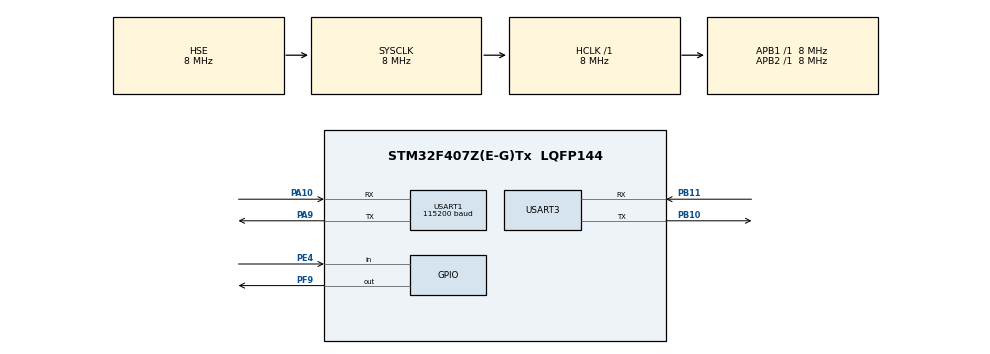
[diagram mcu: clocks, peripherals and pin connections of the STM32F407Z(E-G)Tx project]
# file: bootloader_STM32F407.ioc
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Mcu.Family=STM32F4
Mcu.Name=STM32F407Z(E-G)Tx
Mcu.Package=LQFP144
NVIC.PriorityGroup=NVIC_PRIORITYGROUP_4
PA10.Mode=Asynchronous
PA10.Signal=USART1_RX
PA9.Mode=Asynchronous
PA9.Signal=USART1_TX
PB10.Mode=Asynchronous
PB10.Signal=USART3_TX
PB11.Mode=Asynchronous
PB11.Signal=USART3_RX
PE4.GPIO_PuPd=GPIO_PULLUP
PE4.Signal=GPIO_Input
PF9.PinState=GPIO_PIN_SET
PF9.Signal=GPIO_Output
PH0-OSC_IN.Mode=HSE-External-Oscillator
PH0-OSC_IN.Signal=RCC_OSC_IN
PH1-OSC_OUT.Mode=HSE-External-Oscillator
PH1-OSC_OUT.Signal=RCC_OSC_OUT
ProjectManager.HeapSize=0x200
ProjectManager.StackSize=0x400
ProjectManager.TargetToolchain=STM32CubeIDE
RCC.AHBFreq_Value=8000000
RCC.APB1Freq_Value=8000000
RCC.APB1TimFreq_Value=8000000
RCC.APB2Freq_Value=8000000
RCC.APB2TimFreq_Value=8000000
RCC.CortexFreq_Value=8000000
RCC.HCLKFreq_Value=8000000
RCC.HSE_VALUE=8000000
RCC.HSI_VALUE=16000000
RCC.LSE_VALUE=32768
RCC.SYSCLKFreq_VALUE=8000000
RCC.SYSCLKSource=RCC_SYSCLKSOURCE_HSE
RCC.VCOOutputFreq_Value=192000000
USART1.BaudRate=115200
USART1.VirtualMode=VM_ASYNC
USART3.VirtualMode=VM_ASYNC
VP_CRC_VS_CRC.Mode=CRC_Activate
board=custom

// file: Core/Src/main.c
/* USER CODE BEGIN Header */
/**
  ******************************************************************************
  * @file           : main.c
  * @brief          : Main program body
  ******************************************************************************
  * @attention
  *
  * Copyright (c) 2024 STMicroelectronics.
  * All rights reserved.
  *
  * This software is licensed under terms that can be found in the LICENSE file
  * in the root directory of this software component.
  * If no LICENSE file comes with this software, it is provided AS-IS.
  *
  ******************************************************************************
  */
/* USER CODE END Header */
#include "main.h"

/* USER CODE BEGIN Includes */
#include <stdio.h>
#include <string.h>
#include <stdarg.h>
/* USER CODE END Includes */

/* USER CODE BEGIN PD */
#define K0_GPIO_PORT GPIOE
#define K0_PIN	GPIO_PIN_4
#define BL_RX_LEN 200
/* USER CODE END PD */

/* USER CODE BEGIN PM */
#define BL_DEBUG_MSG_EN
/* USER CODE END PM */

CRC_HandleTypeDef hcrc;

UART_HandleTypeDef huart1;
UART_HandleTypeDef huart3;

/* USER CODE BEGIN PV */
#define D_UART &huart3
#define C_UART &huart1
/* USER CODE END PV */

void SystemClock_Config(void);
static void MX_GPIO_Init(void);
static void MX_CRC_Init(void);
static void MX_USART1_UART_Init(void);
static void MX_USART3_UART_Init(void);
/* USER CODE BEGIN PFP */
static void printmsg(char *format, ...);
void bootloader_send_nack(void);
void bootloader_send_ack(uint8_t command_code, uint8_t follow_len);
uint8_t bootloader_verify_crc(uint8_t *pData, uint32_t len, uint32_t crc_host);
uint8_t get_bootloader_version(void);
uint16_t get_mcu_chip_id(void);
uint8_t get_flash_rdp_level(void);
uint8_t verify_address(uint32_t go_address);
void bootloader_uart_write_data(uint8_t *pBuffer, uint32_t len);
uint8_t execute_flash_erase(uint8_t sector_number, uint8_t number_of_sectors);
uint8_t execute_mem_write(uint8_t *pBuffer, uint32_t mem_address, uint32_t len);
uint8_t configure_flash_sector_rw_protection(uint16_t sector_details, uint8_t protection_mode, uint8_t disable);
/* USER CODE END PFP */

/* USER CODE BEGIN 0 */
char someData[] = "Hello from Bootloader!\r\n";
uint8_t bl_rx_buffer[BL_RX_LEN];

uint8_t supported_commands[] = {
	BL_GET_VER,
	BL_GET_HELP,
	BL_GET_CID,
	BL_GET_RDP_STATUS,
	BL_GO_TO_ADDR,
	BL_FLASH_ERASE,
	BL_MEM_WRITE,
	BL_READ_SECTOR_P_STATUS
};
/* USER CODE END 0 */

int main(void)
{

  /* MCU Configuration--------------------------------------------------------*/

  /* Reset of all peripherals, Initializes the Flash interface and the Systick. */
  HAL_Init();

  /* Configure the system clock */
  SystemClock_Config();

  /* Initialize all configured peripherals */
  MX_GPIO_Init();
  MX_CRC_Init();
  MX_USART1_UART_Init();
  MX_USART3_UART_Init();
  /* USER CODE BEGIN 2 */

  if (HAL_GPIO_ReadPin(K0_GPIO_PORT, K0_PIN) == GPIO_PIN_RESET) {
	  printmsg("BL_DEBUG_MSG:Button is pressed .. going to BL mode\r\n");

	  bootloader_uart_read_data();
  } else {
	  printmsg("BL_DEBUG_MSG:Button is no pressed .. executing user's code\r\n");

	  bootloader_jump_to_user_app();
  }

  /* USER CODE END 2 */

  /* Infinite loop */
  while (1)
  {

  }
}

void SystemClock_Config(void)
{
  RCC_OscInitTypeDef RCC_OscInitStruct = {0};
  RCC_ClkInitTypeDef RCC_ClkInitStruct = {0};

  /** Configure the main internal regulator output voltage
  */
  __HAL_RCC_PWR_CLK_ENABLE();
  __HAL_PWR_VOLTAGESCALING_CONFIG(PWR_REGULATOR_VOLTAGE_SCALE1);

  /** Initializes the RCC Oscillators according to the specified parameters
  * in the RCC_OscInitTypeDef structure.
  */
  RCC_OscInitStruct.OscillatorType = RCC_OSCILLATORTYPE_HSE;
  RCC_OscInitStruct.HSEState = RCC_HSE_ON;
  RCC_OscInitStruct.PLL.PLLState = RCC_PLL_NONE;
  if (HAL_RCC_OscConfig(&RCC_OscInitStruct) != HAL_OK)
  {
    Error_Handler();
  }

  /** Initializes the CPU, AHB and APB buses clocks
  */
  RCC_ClkInitStruct.ClockType = RCC_CLOCKTYPE_HCLK|RCC_CLOCKTYPE_SYSCLK
                              |RCC_CLOCKTYPE_PCLK1|RCC_CLOCKTYPE_PCLK2;
  RCC_ClkInitStruct.SYSCLKSource = RCC_SYSCLKSOURCE_HSE;
  RCC_ClkInitStruct.AHBCLKDivider = RCC_SYSCLK_DIV1;
  RCC_ClkInitStruct.APB1CLKDivider = RCC_HCLK_DIV1;
  RCC_ClkInitStruct.APB2CLKDivider = RCC_HCLK_DIV1;

  if (HAL_RCC_ClockConfig(&RCC_ClkInitStruct, FLASH_LATENCY_0) != HAL_OK)
  {
    Error_Handler();
  }
}

static void MX_CRC_Init(void)
{

  hcrc.Instance = CRC;
  if (HAL_CRC_Init(&hcrc) != HAL_OK)
  {
    Error_Handler();
  }

}

static void MX_USART1_UART_Init(void)
{

  huart1.Instance = USART1;
  huart1.Init.BaudRate = 115200;
  huart1.Init.WordLength = UART_WORDLENGTH_8B;
  huart1.Init.StopBits = UART_STOPBITS_1;
  huart1.Init.Parity = UART_PARITY_NONE;
  huart1.Init.Mode = UART_MODE_TX_RX;
  huart1.Init.HwFlowCtl = UART_HWCONTROL_NONE;
  huart1.Init.OverSampling = UART_OVERSAMPLING_16;
  if (HAL_UART_Init(&huart1) != HAL_OK)
  {
    Error_Handler();
  }

}

static void MX_USART3_UART_Init(void)
{

  huart3.Instance = USART3;
  huart3.Init.BaudRate = 115200;
  huart3.Init.WordLength = UART_WORDLENGTH_8B;
  huart3.Init.StopBits = UART_STOPBITS_1;
  huart3.Init.Parity = UART_PARITY_NONE;
  huart3.Init.Mode = UART_MODE_TX_RX;
  huart3.Init.HwFlowCtl = UART_HWCONTROL_NONE;
  huart3.Init.OverSampling = UART_OVERSAMPLING_16;
  if (HAL_UART_Init(&huart3) != HAL_OK)
  {
    Error_Handler();
  }

}

static void MX_GPIO_Init(void)
{
  GPIO_InitTypeDef GPIO_InitStruct = {0};

  /* GPIO Ports Clock Enable */
  __HAL_RCC_GPIOE_CLK_ENABLE();
  __HAL_RCC_GPIOF_CLK_ENABLE();
  __HAL_RCC_GPIOH_CLK_ENABLE();
  __HAL_RCC_GPIOB_CLK_ENABLE();
  __HAL_RCC_GPIOA_CLK_ENABLE();

  /*Configure GPIO pin Output Level */
  HAL_GPIO_WritePin(GPIOF, GPIO_PIN_9, GPIO_PIN_SET);

  /*Configure GPIO pin : PE4 */
  GPIO_InitStruct.Pin = GPIO_PIN_4;
  GPIO_InitStruct.Mode = GPIO_MODE_INPUT;
  GPIO_InitStruct.Pull = GPIO_PULLUP;
  HAL_GPIO_Init(GPIOE, &GPIO_InitStruct);

  /*Configure GPIO pin : PF9 */
  GPIO_InitStruct.Pin = GPIO_PIN_9;
  GPIO_InitStruct.Mode = GPIO_MODE_OUTPUT_PP;
  GPIO_InitStruct.Pull = GPIO_NOPULL;
  GPIO_InitStruct.Speed = GPIO_SPEED_FREQ_LOW;
  HAL_GPIO_Init(GPIOF, &GPIO_InitStruct);

}

/* USER CODE BEGIN 4 */
void bootloader_uart_read_data(void)
{
	uint8_t rcv_len = 0;

	while(1) {
		memset(bl_rx_buffer, 0, BL_RX_LEN);

		HAL_UART_Receive(C_UART, bl_rx_buffer, 1, HAL_MAX_DELAY);

		rcv_len = bl_rx_buffer[0];

		HAL_UART_Receive(C_UART, &bl_rx_buffer[1], rcv_len, HAL_MAX_DELAY);

		switch (bl_rx_buffer[1]) {
			case BL_GET_VER:
				bootloader_handle_getver_cmd(bl_rx_buffer);
				break;
			case BL_GET_HELP:
				bootloader_handle_gethelp_cmd(bl_rx_buffer);
				break;
			case BL_GET_CID:
				bootloader_handle_getcid_cmd(bl_rx_buffer);
				break;
			case BL_GET_RDP_STATUS:
				bootloader_handle_getrdp_cmd(bl_rx_buffer);
				break;
			case BL_GO_TO_ADDR:
				bootloader_handle_go_cmd(bl_rx_buffer);
				break;
			case BL_FLASH_ERASE:
				bootloader_handle_flash_erase_cmd(bl_rx_buffer);
				break;
			case BL_MEM_WRITE:
				bootloader_handle_mem_write_cmd(bl_rx_buffer);
				break;
			case BL_EN_RW_PROTECT:
				bootloader_handle_en_rw_protect(bl_rx_buffer);
				break;
			case BL_MEM_READ:
				bootloader_handle_mem_read(bl_rx_buffer);
				break;
			case BL_READ_SECTOR_P_STATUS:
				bootloader_handle_read_sector_protection_status(bl_rx_buffer);
				break;
			case BL_OTP_READ:
				bootloader_handle_read_otp(bl_rx_buffer);
				break;
			case BL_DIS_R_W_PROTECT:
				bootloader_handle_dis_rw_protect(bl_rx_buffer);
				break;
			 default:
				printmsg("BL_DEBUG_MSG:Invalid command code received from host \n");
				break;
		}
	}

}

void bootloader_jump_to_user_app(void)
{
	//just a function pointer to hold the address of the reset handler of the user app.
	void (*app_reset_handler)(void);

	printmsg("BL_DEBUG_MSG:bootloader_jump_to_user_app\n");

	// 1. configure the MSP by reading the value from the base address of the sector 2
	uint32_t msp_value = *(volatile uint32_t *)FLASH_SECTOR2_BASE_ADDRESS;
	printmsg("BL_DEBUG_MSG:MSP value : %#x\n",msp_value);

	//This function comes from CMSIS.
	__set_MSP(msp_value);

	//SCB->VTOR = FLASH_SECTOR1_BASE_ADDRESS;

	/* 2. Now fetch the reset handler address of the user application
	 * from the location FLASH_SECTOR2_BASE_ADDRESS+4
	 */
	uint32_t resethandler_address = *(volatile uint32_t *) (FLASH_SECTOR2_BASE_ADDRESS + 4);

	app_reset_handler = (void*) resethandler_address;

	printmsg("BL_DEBUG_MSG: app reset handler addr : %#x\n", app_reset_handler);

	//3. jump to reset handler of the user application
	app_reset_handler();
}

void bootloader_handle_getver_cmd(uint8_t *pBuffer)
{
	uint8_t bl_version;

	printmsg("BL_DEBUG_MSG: bootloader handle_getver_cmd\r\n");

	//Total length of the command packet
	uint32_t command_packet_len = pBuffer[0]+1 ;

	//extract the CRC32 sent by the Host
	uint32_t host_crc = *((uint32_t * ) (pBuffer+command_packet_len - 4) ) ;

	if (! bootloader_verify_crc(&pBuffer[0], command_packet_len-4, host_crc)) {

		printmsg("BL_DEBUG_MSG: checksum success!\r\n");

		bootloader_send_ack(pBuffer[0], 1);
		bl_version = get_bootloader_version();
		printmsg("BL_DEBUG_MSG:BL_VER : %d %#x\r\n", bl_version, bl_version);
		bootloader_uart_write_data(&bl_version, 1);
	} else {
		printmsg("BL_DEBUG_MSG: checksum fail!\r\n");
		bootloader_send_nack();
	}
}

void bootloader_handle_gethelp_cmd(uint8_t *pBuffer)
{
	printmsg("BL_DEBUG_MSG: bootloader handle_gethelp_cmd\r\n");

	//Total length of the command packet
	uint32_t command_packet_len = pBuffer[0]+1 ;

	//extract the CRC32 sent by the Host
	uint32_t host_crc = *((uint32_t * ) (pBuffer+command_packet_len - 4) ) ;

	if (! bootloader_verify_crc(&pBuffer[0], command_packet_len-4, host_crc)) {

		printmsg("BL_DEBUG_MSG: checksum success!\r\n");

		bootloader_send_ack(pBuffer[0], sizeof(supported_commands));
		bootloader_uart_write_data(supported_commands, sizeof(supported_commands));
	} else {
		printmsg("BL_DEBUG_MSG: checksum fail!\r\n");
		bootloader_send_nack();
	}
}

void bootloader_handle_getcid_cmd(uint8_t *pBuffer)
{
	uint16_t bl_cid_num;

	printmsg("BL_DEBUG_MSG: bootloader handle_getcid_cmd\r\n");

	//Total length of the command packet
	uint32_t command_packet_len = pBuffer[0]+1;

	//extract the CRC32 sent by the Host
	uint32_t host_crc = *((uint32_t * ) (pBuffer+command_packet_len - 4) );

	if (! bootloader_verify_crc(&pBuffer[0], command_packet_len-4, host_crc)) {

		printmsg("BL_DEBUG_MSG: checksum success!\r\n");

		bootloader_send_ack(pBuffer[0], 2);
		bl_cid_num = get_mcu_chip_id();
		printmsg("BL_DEBUG_MSG:MCU id : %d %#x !!\r\n", bl_cid_num, bl_cid_num);
		bootloader_uart_write_data((uint8_t *)&bl_cid_num, 2);
	} else {
		printmsg("BL_DEBUG_MSG: checksum fail!\r\n");
		bootloader_send_nack();
	}
}

void bootloader_handle_getrdp_cmd(uint8_t *pBuffer)
{
	uint8_t rdp_level = 0x00;
	printmsg("BL_DEBUG_MSG: bootloader handle_getrdp_cmd\r\n");

	//Total length of the command packet
	uint32_t command_packet_len = pBuffer[0]+1 ;

	//extract the CRC32 sent by the Host
	uint32_t host_crc = *((uint32_t * ) (pBuffer+command_packet_len - 4) );

	if (! bootloader_verify_crc(&pBuffer[0], command_packet_len-4, host_crc)) {

		printmsg("BL_DEBUG_MSG: checksum success!\r\n");

		bootloader_send_ack(pBuffer[0], 1);
		rdp_level = get_flash_rdp_level();
		printmsg("BL_DEBUG_MSG:RDP level : %d %#x !!\r\n", rdp_level, rdp_level);
		bootloader_uart_write_data(&rdp_level, 1);
	} else {
		printmsg("BL_DEBUG_MSG: checksum fail!\r\n");
		bootloader_send_nack();
	}

}

void bootloader_handle_go_cmd(uint8_t *pBuffer)
{
	uint32_t go_address = 0;
	uint8_t addr_valid = ADDR_VALID;
	uint8_t addr_invalid = ADDR_INVALID;

	printmsg("BL_DEBUG_MSG: bootloader handle_go_cmd\r\n");

	//Total length of the command packet
	uint32_t command_packet_len = pBuffer[0]+1 ;

	//extract the CRC32 sent by the Host
	uint32_t host_crc = *((uint32_t * ) (pBuffer+command_packet_len - 4) );

	if (! bootloader_verify_crc(&pBuffer[0], command_packet_len-4, host_crc)) {

		printmsg("BL_DEBUG_MSG: checksum success!\r\n");

		bootloader_send_ack(pBuffer[0], 1);

		go_address = *((uint32_t *)&pBuffer[2]);

		printmsg("BL_DEBUG_MSG:GO addr : %#x\r\n", go_address);

		if (verify_address(go_address) == ADDR_VALID) {
			bootloader_uart_write_data(&addr_valid, 1);

			void (*lets_jump)(void) = (void *)go_address;

			printmsg("BL_DEBUG_MSG: jumping to go address!\r\n");

			lets_jump();

		} else {
            printmsg("BL_DEBUG_MSG:GO addr invalid ! \n");
            //tell host that address is invalid
            bootloader_uart_write_data(&addr_invalid, 1);
		}

	} else {
		printmsg("BL_DEBUG_MSG: checksum fail!\r\n");
		bootloader_send_nack();
	}
}

void bootloader_handle_flash_erase_cmd(uint8_t *pBuffer)
{
	uint8_t erase_status = 0x00;
	printmsg("BL_DEBUG_MSG: bootloader handle_flash_erase_cmd\r\n");

	//Total length of the command packet
	uint32_t command_packet_len = pBuffer[0]+1 ;

	//extract the CRC32 sent by the Host
	uint32_t host_crc = *((uint32_t * ) (pBuffer+command_packet_len - 4) );

	if (! bootloader_verify_crc(&pBuffer[0], command_packet_len-4, host_crc)) {

		printmsg("BL_DEBUG_MSG: checksum success!\r\n");

		bootloader_send_ack(pBuffer[0], 1);

		printmsg("BL_DEBUG_MSG:GO initital_sector : %d no_ofsectors %d\r\n", pBuffer[2], pBuffer[3]);

		HAL_GPIO_WritePin(GPIOF, GPIO_PIN_9, 0);
		erase_status = execute_flash_erase(pBuffer[2], pBuffer[3]);
		HAL_GPIO_WritePin(GPIOF, GPIO_PIN_9, 1);

		printmsg("BL_DEBUG_MSG: flash erase status: %#x", erase_status);

	} else {
		printmsg("BL_DEBUG_MSG: checksum fail!\r\n");
		bootloader_send_nack();
	}
}

void bootloader_handle_mem_write_cmd(uint8_t *pBuffer)
{
	uint8_t write_status = 0x00;

	uint8_t payload_len = pBuffer[6];

	uint32_t mem_address = *((uint32_t *)&pBuffer[2]);

	printmsg("BL_DEBUG_MSG: bootloader handle_mem_write_cmd\r\n");

	//Total length of the command packet
	uint32_t command_packet_len = pBuffer[0]+1 ;

	//extract the CRC32 sent by the Host
	uint32_t host_crc = *((uint32_t * ) (pBuffer+command_packet_len - 4) );

	if (! bootloader_verify_crc(&pBuffer[0], command_packet_len-4, host_crc)) {

		printmsg("BL_DEBUG_MSG: checksum success!\r\n");

		bootloader_send_ack(pBuffer[0], 1);

		printmsg("BL_DEBUG_MSG:mem write address : %#x\r\n", mem_address);

		if (verify_address(mem_address) == ADDR_VALID) {
			printmsg("BL_DEBUG_MSG: valid mem write address\r\n");

			HAL_GPIO_WritePin(GPIOF, GPIO_PIN_9, 0);
			write_status = execute_mem_write(&pBuffer[7], mem_address, payload_len);
			HAL_GPIO_WritePin(GPIOF, GPIO_PIN_9, 1);

			bootloader_uart_write_data(&write_status, 1);
		} else {
			printmsg("BL_DEBUG_MSG: invalid mem write address\r\n");
			write_status = ADDR_INVALID;
			bootloader_uart_write_data(&write_status, 1);
		}
	} else {
		printmsg("BL_DEBUG_MSG: checksum fail!\r\n");
		bootloader_send_nack();
	}
}

void bootloader_handle_en_rw_protect(uint8_t *pBuffer)
{
	uint8_t status = 0x00;
	printmsg("BL_DEBUG_MSG:bootloader_handle_en_rw_protect\n");

	//Total length of the command packet
	uint32_t command_packet_len = bl_rx_buffer[0]+1 ;

	//extract the CRC32 sent by the Host
	uint32_t host_crc = *((uint32_t * ) (bl_rx_buffer+command_packet_len - 4) ) ;

	if (! bootloader_verify_crc(&bl_rx_buffer[0], command_packet_len - 4, host_crc))
	{
		printmsg("BL_DEBUG_MSG:checksum success !!\n");
		bootloader_send_ack(pBuffer[0],1);

		uint16_t write_pr_code = pBuffer[3] << 8 | pBuffer[2];

		status = configure_flash_sector_rw_protection(write_pr_code, pBuffer[4],0);

		printmsg("BL_DEBUG_MSG: flash RW status: %#x\n", status);

		bootloader_uart_write_data(&status,1);

	}else
	{
		printmsg("BL_DEBUG_MSG:checksum fail !!\n");
		bootloader_send_nack();
	}
}

void bootloader_handle_mem_read (uint8_t *pBuffer)
{

}

void bootloader_handle_read_sector_protection_status(uint8_t *pBuffer)
{
	volatile uint32_t *pOPTCR = (uint32_t*) 0x40023C14;
	uint16_t status = 0x00;
	printmsg("BL_DEBUG_MSG:bootloader_handle_read_sector_protection_status\n");

	//Total length of the command packet
	uint32_t command_packet_len = bl_rx_buffer[0]+1;

	//extract the CRC32 sent by the Host
	uint32_t host_crc = *((uint32_t * ) (bl_rx_buffer+command_packet_len - 4) ) ;

	if (! bootloader_verify_crc(&bl_rx_buffer[0],command_packet_len-4,host_crc))
	{
		printmsg("BL_DEBUG_MSG:checksum success !!\n");
		bootloader_send_ack(pBuffer[0],2);

		status = ((*pOPTCR >> 16) & 0xfff);

		printmsg("BL_DEBUG_MSG: flash RW status: %#x\n", status);

		bootloader_uart_write_data((uint8_t *)&status, 2);

	}else
	{
		printmsg("BL_DEBUG_MSG:checksum fail !!\n");
		bootloader_send_nack();
	}
}

void bootloader_handle_read_otp(uint8_t *pBuffer)
{

}

void bootloader_handle_dis_rw_protect(uint8_t *pBuffer)
{
	uint8_t status = 0x00;
	printmsg("BL_DEBUG_MSG:bootloader_handle_dis_rw_protect\n");

	//Total length of the command packet
	uint32_t command_packet_len = bl_rx_buffer[0]+1 ;

	//extract the CRC32 sent by the Host
	uint32_t host_crc = *((uint32_t * ) (bl_rx_buffer+command_packet_len - 4) ) ;

	if (! bootloader_verify_crc(&bl_rx_buffer[0],command_packet_len-4,host_crc))
	{
		printmsg("BL_DEBUG_MSG:checksum success !!\n");
		bootloader_send_ack(pBuffer[0],1);

		status = configure_flash_sector_rw_protection(0, 0, 1);

		printmsg("BL_DEBUG_MSG: flash RW status: %#x\n",status);

		bootloader_uart_write_data(&status,1);

	}else
	{
		printmsg("BL_DEBUG_MSG:checksum fail !!\n");
		bootloader_send_nack();
	}
}

void bootloader_send_ack(uint8_t command_code, uint8_t follow_len)
{
	//first byte is ACK, and the second byte is length value
	uint8_t ack_buf[2];
	ack_buf[0] = BL_ACK;
	ack_buf[1] = follow_len;

	HAL_UART_Transmit(C_UART, (uint8_t *)&ack_buf, 2, HAL_MAX_DELAY);

}

void bootloader_send_nack(void)
{
	uint8_t nack = BL_NACK;
	HAL_UART_Transmit(C_UART, &nack, 1, HAL_MAX_DELAY);
}

uint8_t bootloader_verify_crc(uint8_t *pData, uint32_t len, uint32_t crc_host)
{
	uint32_t uwCRCValue = 0xff;

	for (uint32_t i = 0; i < len; i++) {
		uint32_t i_data = pData[i];
		uwCRCValue = HAL_CRC_Accumulate(&hcrc, &i_data, 1);
	}

	__HAL_CRC_DR_RESET(&hcrc);

	if (uwCRCValue == crc_host) {
		return VERIFY_CRC_SUCCESS;
	}

	return VERIFY_CRC_FAIL;
}

uint8_t get_bootloader_version(void)
{
	return (uint8_t) BL_VERSION;
}

uint16_t get_mcu_chip_id(void)
{
	uint16_t cid;
	cid = (uint16_t)(DBGMCU->IDCODE) & 0x0FFF;
	return cid;
}

uint8_t get_flash_rdp_level(void)
{
	uint8_t rdp_status = 0;

#if 0
	FLASH_OBProgramInitTypeDef ob_handle;
	HAL_FLASHEx_OBGetConfig(&ob_handle);
	rdp_status = (uint8_t)ob_handle.RDPLevel;
#else
	volatile uint32_t *pOB_addr = (uint32_t *) 0x1FFFC000;
	rdp_status = (*pOB_addr >> 8);
#endif
	return rdp_status;
}

uint8_t verify_address(uint32_t go_address)
{
	if (go_address >= SRAM1_BASE && go_address <= SRAM1_END) {
		return ADDR_VALID;
	} else if (go_address >= SRAM2_BASE && go_address <= SRAM2_END) {
		return ADDR_VALID;
	} else if (go_address >= FLASH_BASE && go_address <= FLASH_END) {
		return ADDR_VALID;
	} else if (go_address >= BKPSRAM_BASE && go_address <= BKPSRAM_END) {
		return ADDR_VALID;
	} else {
		return ADDR_INVALID;
	}
}

uint8_t execute_flash_erase(uint8_t sector_number, uint8_t number_of_sectors)
{
	FLASH_EraseInitTypeDef flashErase_handle;

	uint32_t sectorError;
	HAL_StatusTypeDef status;

	if (number_of_sectors > 11 && sector_number != 0xff) {
		return INVALID_SECTOR;
	}

	if (sector_number == 0xFF || sector_number <= 11) {
		if (sector_number == (uint8_t)0xFF) {
			flashErase_handle.TypeErase = FLASH_TYPEERASE_MASSERASE;
		} else {
			uint8_t remaining_sector = 12 - sector_number;

			if (number_of_sectors > remaining_sector) {
				number_of_sectors = remaining_sector;
			}
			flashErase_handle.TypeErase = FLASH_TYPEERASE_SECTORS;
			flashErase_handle.Sector = (uint32_t)sector_number;
			flashErase_handle.NbSectors = (uint32_t)number_of_sectors;
		}

		flashErase_handle.Banks = FLASH_BANK_1;

		HAL_FLASH_Unlock();
		flashErase_handle.VoltageRange = FLASH_VOLTAGE_RANGE_3;

		status = (uint8_t) HAL_FLASHEx_Erase(&flashErase_handle, &sectorError);
		HAL_FLASH_Lock();

		return status;
	}

	return INVALID_SECTOR;
}

uint8_t execute_mem_write(uint8_t *pBuffer, uint32_t mem_address, uint32_t len)
{
	uint8_t status = HAL_OK;

	HAL_FLASH_Unlock();

	for (uint32_t i = 0; i < len; i++) {
		status = HAL_FLASH_Program(FLASH_TYPEPROGRAM_BYTE, mem_address+i, pBuffer[i]);
	}

	HAL_FLASH_Lock();

	return status;
}

/*
Modifying user option bytes
To modify the user option value, follow the sequence below:
1. Check that no Flash memory operation is ongoing by checking the BSY bit in the
FLASH_SR register
2. Write the desired option value in the FLASH_OPTCR register.
3. Set the option start bit (OPTSTRT) in the FLASH_OPTCR register
4. Wait for the BSY bit to be cleared.
*/
uint8_t configure_flash_sector_rw_protection(uint16_t sector_details, uint8_t protection_mode, uint8_t disable)
{
	//First configure the protection mode
	//protection_mode =1 , means write protect of the user flash sectors
	//protection_mode =2, means read/write protect of the user flash sectors
	//According to RM of stm32f446xx TABLE 9, We have to modify the address 0x1FFF C008 bit 15(SPRMOD)

	//Flash option control register (OPTCR)
	volatile uint32_t *pOPTCR = (uint32_t*) 0x40023C14;

	if(disable) {

		//disable all r/w protection on sectors

		//Option byte configuration unlock
		HAL_FLASH_OB_Unlock();

		//wait till no active operation on flash
		while(__HAL_FLASH_GET_FLAG(FLASH_FLAG_BSY) != RESET);

		//clear the 31st bit (default state)
		//please refer : Flash option control register (FLASH_OPTCR) in RM
		*pOPTCR &= ~(1 << 31);

		//clear the protection : make all bits belonging to sectors as 1
		*pOPTCR |= (0xFFF << 16);

		//Set the option start bit (OPTSTRT) in the FLASH_OPTCR register
		*pOPTCR |= ( 1 << 1);

		//wait till no active operation on flash
		while(__HAL_FLASH_GET_FLAG(FLASH_FLAG_BSY) != RESET);

		HAL_FLASH_OB_Lock();

		return 0;

	}

	if(protection_mode == (uint8_t) 1) {
		//we are putting write protection on the sectors encoded in sector_details argument

		//Option byte configuration unlock
		HAL_FLASH_OB_Unlock();

		//wait till no active operation on flash
		while(__HAL_FLASH_GET_FLAG(FLASH_FLAG_BSY) != RESET);

		//here we are setting just write protection for the sectors
		//clear the 31st bit
		//please refer : Flash option control register (FLASH_OPTCR) in RM
		*pOPTCR &= ~(1 << 31);

		//put write protection on sectors
		*pOPTCR &= ~(sector_details << 16);

		//Set the option start bit (OPTSTRT) in the FLASH_OPTCR register
		*pOPTCR |= ( 1 << 1);

		//wait till no active operation on flash
		while(__HAL_FLASH_GET_FLAG(FLASH_FLAG_BSY) != RESET);

		HAL_FLASH_OB_Lock();
	} else if (protection_mode == (uint8_t) 2) {
		//Option byte configuration unlock
		HAL_FLASH_OB_Unlock();

		//wait till no active operation on flash
		while(__HAL_FLASH_GET_FLAG(FLASH_FLAG_BSY) != RESET);

		//here wer are setting read and write protection for the sectors
		//set the 31st bit
		//please refer : Flash option control register (FLASH_OPTCR) in RM
		*pOPTCR |= (1 << 31);

		//put read and write protection on sectors
		*pOPTCR &= ~(0xff << 16);
		*pOPTCR |= (sector_details << 16);

		//Set the option start bit (OPTSTRT) in the FLASH_OPTCR register
		*pOPTCR |= ( 1 << 1);

		//wait till no active operation on flash
		while(__HAL_FLASH_GET_FLAG(FLASH_FLAG_BSY) != RESET);

		HAL_FLASH_OB_Lock();
	}

	return 0;
}

void bootloader_uart_write_data(uint8_t *pBuffer, uint32_t len)
{
	HAL_UART_Transmit(C_UART, pBuffer, len, HAL_MAX_DELAY);
}

void printmsg(char *format, ...)
{
#ifdef BL_DEBUG_MSG_EN
	char str[80];

	va_list args;
	va_start(args, format);
	vsprintf(str, format, args);
	HAL_UART_Transmit(D_UART, (uint8_t *)str, strlen(str), HAL_MAX_DELAY);
	va_end(args);
#endif
}
/* USER CODE END 4 */

void Error_Handler(void)
{
  __disable_irq();
  while (1)
  {
  }
}
